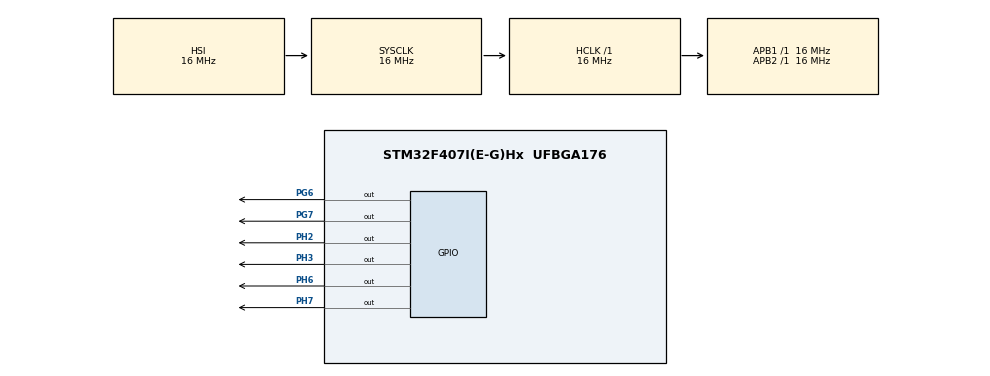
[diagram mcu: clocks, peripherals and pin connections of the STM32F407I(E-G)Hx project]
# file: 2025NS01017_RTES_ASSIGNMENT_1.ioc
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FREERTOS.Tasks01=defaultTask,0,128,StartDefaultTask,Default,NULL,Dynamic,NULL,NULL
FREERTOS.configMAX_PRIORITIES=10
Mcu.Family=STM32F4
Mcu.Name=STM32F407I(E-G)Hx
Mcu.Package=UFBGA176
NVIC.PriorityGroup=NVIC_PRIORITYGROUP_4
NVIC.TIM7_IRQn=true\:15\:0\:false\:false\:true\:false\:false\:true\:true
NVIC.TimeBase=TIM7_IRQn
NVIC.TimeBaseIP=TIM7
PG6.Signal=GPIO_Output
PG7.Signal=GPIO_Output
PH2.Signal=GPIO_Output
PH3.Signal=GPIO_Output
PH6.Signal=GPIO_Output
PH7.Signal=GPIO_Output
ProjectManager.HeapSize=0x200
ProjectManager.StackSize=0x400
ProjectManager.TargetToolchain=MDK-ARM V5.32
RCC.AHBFreq_Value=16000000
RCC.APB1Freq_Value=16000000
RCC.APB2Freq_Value=16000000
RCC.CortexFreq_Value=16000000
RCC.HSE_VALUE=25000000
RCC.HSI_VALUE=16000000
RCC.LSE_VALUE=32768
RCC.SYSCLKFreq_VALUE=16000000
RCC.VCOOutputFreq_Value=192000000
VP_FREERTOS_VS_CMSIS_V1.Mode=CMSIS_V1
VP_SYS_VS_tim7.Mode=TIM7
board=custom

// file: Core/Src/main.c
/* USER CODE BEGIN Header */
/**
  ******************************************************************************
  * @file           : main.c
  * @brief          : Main program body
  ******************************************************************************
  * @attention
  *
  * Copyright (c) 2025 STMicroelectronics.
  * All rights reserved.
  *
  * This software is licensed under terms that can be found in the LICENSE file
  * in the root directory of this software component.
  * If no LICENSE file comes with this software, it is provided AS-IS.
  *
  ******************************************************************************
  */
/* USER CODE END Header */
#include "main.h"
#include "cmsis_os.h"

/* USER CODE BEGIN Includes */
#include "FreeRTOS.h" // Manually include the native FreeRTOS headers
#include "task.h"
/* USER CODE END Includes */

osThreadId defaultTaskHandle;
/* USER CODE BEGIN PV */
TaskHandle_t lowPriorityTaskHandle;
TaskHandle_t middlePriorityTaskHandle;
TaskHandle_t highPriorityTaskHandle;
// ### MODIFICATION END
/* USER CODE END PV */

void SystemClock_Config(void);
static void MX_GPIO_Init(void);
void StartDefaultTask(void const * argument);

/* USER CODE BEGIN PFP */
// ### MODIFICATION START: Add task function prototypes (signature changes for native API)
void StartLowPriorityTask(void *argument);
void StartMiddlePriorityTask(void *argument);
void StartHighPriorityTask(void *argument);
// ### MODIFICATION END
/* USER CODE END PFP */

int main(void)
{

  /* MCU Configuration--------------------------------------------------------*/

  /* Reset of all peripherals, Initializes the Flash interface and the Systick. */
  HAL_Init();

  /* Configure the system clock */
  SystemClock_Config();

  /* Initialize all configured peripherals */
  MX_GPIO_Init();
  /* USER CODE BEGIN 2 */

  // ### MODIFICATION START: Create the three required tasks using Native FreeRTOS API

  // 1. Create Low Priority Task
  xTaskCreate(StartLowPriorityTask,       // Function that implements the task.
              "LowPriorityTask",          // Text name for the task.
              128,                        // Stack size in words, not bytes.
              NULL,                       // Parameter passed into the task.
              1,                          // Priority at which the task is created.
              &lowPriorityTaskHandle);    // Pointer to the task handle.

  // 2. Create Middle Priority Task
  xTaskCreate(StartMiddlePriorityTask,
              "MiddlePriorityTask",
              128,
              NULL,
              2,
              &middlePriorityTaskHandle);

  // 3. Create High Priority Task
  xTaskCreate(StartHighPriorityTask,
              "HighPriorityTask",
              256,
              NULL,
              3,
              &highPriorityTaskHandle);

  // ### MODIFICATION END
  /* USER CODE END 2 */

  /* Create the thread(s) */
  /* definition and creation of defaultTask */
  // The default CMSIS task is left alone but will not run unless you start osKernelStart()
  osThreadDef(defaultTask, StartDefaultTask, osPriorityNormal, 0, 128);
  defaultTaskHandle = osThreadCreate(osThread(defaultTask), NULL);

  /* Start scheduler */
  // osKernelStart(); // We use the native scheduler start instead
  vTaskStartScheduler();

  /* We should never get here as control is now taken by the scheduler */

  /* Infinite loop */
  while (1)
  {

  }
}

void SystemClock_Config(void)
{
  RCC_OscInitTypeDef RCC_OscInitStruct = {0};
  RCC_ClkInitTypeDef RCC_ClkInitStruct = {0};

  /** Configure the main internal regulator output voltage
  */
  __HAL_RCC_PWR_CLK_ENABLE();
  __HAL_PWR_VOLTAGESCALING_CONFIG(PWR_REGULATOR_VOLTAGE_SCALE1);

  /** Initializes the RCC Oscillators according to the specified parameters
  * in the RCC_OscInitTypeDef structure.
  */
  RCC_OscInitStruct.OscillatorType = RCC_OSCILLATORTYPE_HSI;
  RCC_OscInitStruct.HSIState = RCC_HSI_ON;
  RCC_OscInitStruct.HSICalibrationValue = RCC_HSICALIBRATION_DEFAULT;
  RCC_OscInitStruct.PLL.PLLState = RCC_PLL_NONE;
  if (HAL_RCC_OscConfig(&RCC_OscInitStruct) != HAL_OK)
  {
    Error_Handler();
  }

  /** Initializes the CPU, AHB and APB buses clocks
  */
  RCC_ClkInitStruct.ClockType = RCC_CLOCKTYPE_HCLK|RCC_CLOCKTYPE_SYSCLK
                              |RCC_CLOCKTYPE_PCLK1|RCC_CLOCKTYPE_PCLK2;
  RCC_ClkInitStruct.SYSCLKSource = RCC_SYSCLKSOURCE_HSI;
  RCC_ClkInitStruct.AHBCLKDivider = RCC_SYSCLK_DIV1;
  RCC_ClkInitStruct.APB1CLKDivider = RCC_HCLK_DIV1;
  RCC_ClkInitStruct.APB2CLKDivider = RCC_HCLK_DIV1;

  if (HAL_RCC_ClockConfig(&RCC_ClkInitStruct, FLASH_LATENCY_0) != HAL_OK)
  {
    Error_Handler();
  }
}

static void MX_GPIO_Init(void)
{
  GPIO_InitTypeDef GPIO_InitStruct = {0};

  /* GPIO Ports Clock Enable */
  __HAL_RCC_GPIOH_CLK_ENABLE();
  __HAL_RCC_GPIOG_CLK_ENABLE();

  /*Configure GPIO pin Output Level */
  HAL_GPIO_WritePin(GPIOH, GPIO_PIN_2|GPIO_PIN_3|GPIO_PIN_6|GPIO_PIN_7, GPIO_PIN_RESET);

  /*Configure GPIO pin Output Level */
  HAL_GPIO_WritePin(GPIOG, GPIO_PIN_7|GPIO_PIN_6, GPIO_PIN_RESET);

  /*Configure GPIO pins : PH2 PH3 PH6 PH7 */
  GPIO_InitStruct.Pin = GPIO_PIN_2|GPIO_PIN_3|GPIO_PIN_6|GPIO_PIN_7;
  GPIO_InitStruct.Mode = GPIO_MODE_OUTPUT_PP;
  GPIO_InitStruct.Pull = GPIO_NOPULL;
  GPIO_InitStruct.Speed = GPIO_SPEED_FREQ_LOW;
  HAL_GPIO_Init(GPIOH, &GPIO_InitStruct);

  /*Configure GPIO pins : PG7 PG6 */
  GPIO_InitStruct.Pin = GPIO_PIN_7|GPIO_PIN_6;
  GPIO_InitStruct.Mode = GPIO_MODE_OUTPUT_PP;
  GPIO_InitStruct.Pull = GPIO_NOPULL;
  GPIO_InitStruct.Speed = GPIO_SPEED_FREQ_LOW;
  HAL_GPIO_Init(GPIOG, &GPIO_InitStruct);

}

/* USER CODE BEGIN 4 */
// ### MODIFICATION START: Implement the task functions using Native FreeRTOS API

void StartLowPriorityTask(void *argument)
{
  for(;;)
  {
    HAL_GPIO_TogglePin(GPIOG, GPIO_PIN_6);
    vTaskDelay(100);
  }
}

void StartMiddlePriorityTask(void *argument)
{
  for(;;)
  {
    HAL_GPIO_TogglePin(GPIOG, GPIO_PIN_7);
    vTaskDelay(75);
  }
}

void StartHighPriorityTask(void *argument)
{
  uint8_t count = 0;
  for(;;)
  {
    // Task Management Logic
    if (count == 5)
    {
      vTaskSuspend(lowPriorityTaskHandle);
    }
    if (count == 10)
    {
      // Check handle is not NULL before deleting
      if (middlePriorityTaskHandle != NULL)
      {
        vTaskDelete(middlePriorityTaskHandle);
        middlePriorityTaskHandle = NULL; // Best practice to NULL the handle after deletion
      }
    }
    if (count == 14)
    {
      vTaskResume(lowPriorityTaskHandle);
    }

    // Display Count on 4 LEDs (PH2, PH3, PH6, PH7)
    HAL_GPIO_WritePin(GPIOH, GPIO_PIN_2, (count & 0x01) ? GPIO_PIN_SET : GPIO_PIN_RESET); // Bit 0
    HAL_GPIO_WritePin(GPIOH, GPIO_PIN_3, (count & 0x02) ? GPIO_PIN_SET : GPIO_PIN_RESET); // Bit 1
    HAL_GPIO_WritePin(GPIOH, GPIO_PIN_6, (count & 0x04) ? GPIO_PIN_SET : GPIO_PIN_RESET); // Bit 2
    HAL_GPIO_WritePin(GPIOH, GPIO_PIN_7, (count & 0x08) ? GPIO_PIN_SET : GPIO_PIN_RESET); // Bit 3

    // Increment count and wrap around
    count++;
    if (count > 15)
    {
      count = 0;
    }

    // Block for 1000 clock ticks
    vTaskDelay(1000);
  }
}
// ### MODIFICATION END
/* USER CODE END 4 */

void StartDefaultTask(void const * argument)
{
  for(;;)
  {
    osDelay(1);
  }
}

void HAL_TIM_PeriodElapsedCallback(TIM_HandleTypeDef *htim)
{
  if (htim->Instance == TIM7) {
    HAL_IncTick();
  }
}

void Error_Handler(void)
{
  __disable_irq();
  while (1)
  {
  }
}
